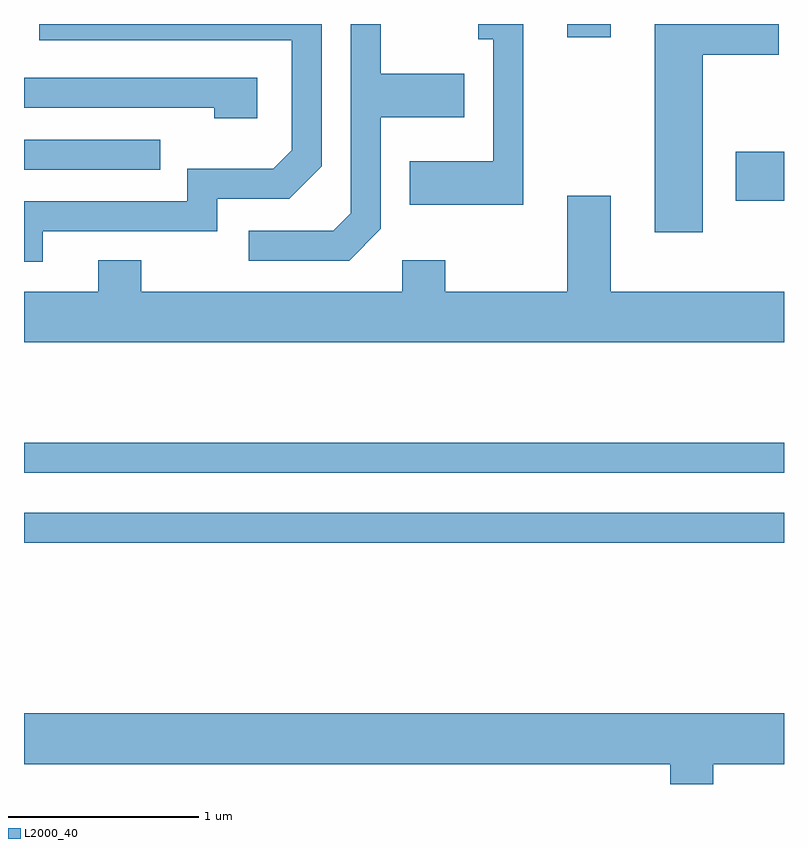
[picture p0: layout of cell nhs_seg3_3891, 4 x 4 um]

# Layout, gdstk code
import gdstk
lib = gdstk.Library(unit=1e-6, precision=1e-09)
def R(c, l, rs):  # rectangles x0, y0, x1, y1
    for r in rs: c.add(gdstk.rectangle(r[:2], r[2:], *l))
def P(c, l, *ps):  # polygons
    for p in ps: c.add(gdstk.Polygon(p, *l))
L2000_40 = (2000, 40)

nhs_seg3_3891 = lib.new_cell('nhs_seg3_3891')
R(nhs_seg3_3891, L2000_40, [(299.611,1147.161,303.611,1147.319), (299.611,1147.531,303.611,1147.689), (303.356,1148.961,303.611,1149.219), (299.611,1149.126,300.328,1149.284), (302.471,1149.821,302.699,1149.892)])
P(nhs_seg3_3891, L2000_40, [(299.709,1148.801),(300.629,1148.801),(300.629,1148.971),(301.007,1148.971),(301.179,1149.144),(301.179,1149.892),(299.691,1149.892),(299.691,1149.806),(301.021,1149.806),(301.021,1149.227),(300.924,1149.129),(300.471,1149.129),(300.471,1148.959),(299.611,1148.959),(299.611,1148.641),(299.709,1148.641)],
  [(302.239,1149.892),(302.003,1149.892),(302.003,1149.811),(302.081,1149.811),(302.081,1149.169),(301.641,1149.169),(301.641,1148.941),(302.239,1148.941)],
  [(303.184,1149.731),(303.584,1149.731),(303.584,1149.892),(302.931,1149.892),(302.931,1148.796),(303.184,1148.796)],
  [(301.489,1148.814),(301.489,1149.401),(301.929,1149.401),(301.929,1149.629),(301.489,1149.629),(301.489,1149.892),(301.331,1149.892),(301.331,1148.897),(301.239,1148.804),(300.793,1148.804),(300.793,1148.646),(301.322,1148.646)],
  [(300.839,1149.609),(299.611,1149.609),(299.611,1149.451),(300.611,1149.451),(300.611,1149.396),(300.839,1149.396)],
  [(303.611,1148.484),(302.699,1148.484),(302.699,1148.989),(302.471,1148.989),(302.471,1148.484),(301.829,1148.484),(301.829,1148.649),(301.601,1148.649),(301.601,1148.484),(300.229,1148.484),(300.229,1148.649),(300.001,1148.649),(300.001,1148.484),(299.611,1148.484),(299.611,1148.216),(303.611,1148.216)],
  [(303.239,1145.996),(303.611,1145.996),(303.611,1146.264),(299.611,1146.264),(299.611,1145.996),(303.011,1145.996),(303.011,1145.892),(303.239,1145.892)])

lib.write_gds('nhs_seg3_3891.gds')
